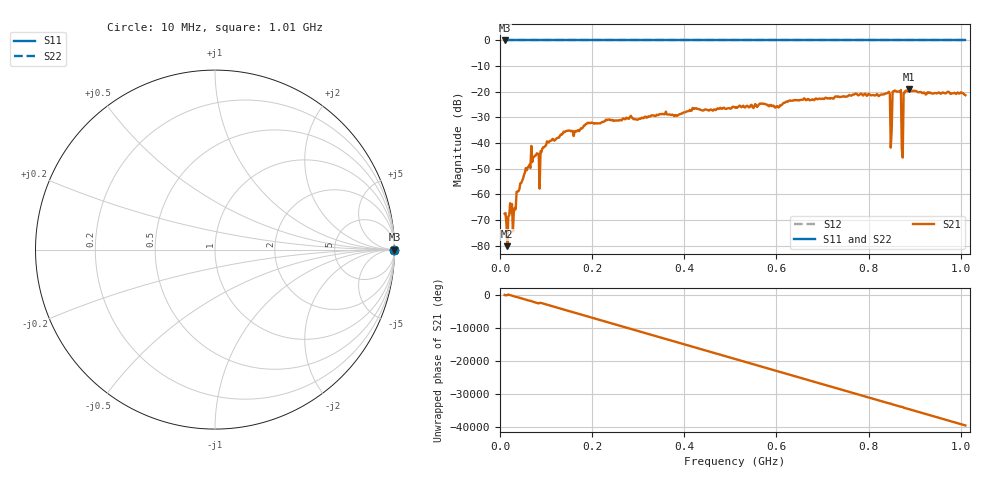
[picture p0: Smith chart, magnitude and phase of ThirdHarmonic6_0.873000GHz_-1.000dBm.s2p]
! 8/16/2025 4:48:41 AM
! C:\ANRITSUVNA\TEMP\TEMP.S2P
! CHANNEL.1
! TR.MEASUREMENT
! RAW.DATA
! RF.CORRECTION.OFF
! AVERAGING.OFF
! IF.BANDWIDTH: 5KHZ
! SWEEPTYPE:  FREQ.SWEEP(Linear)
! Reference Plane Port Info
! PORT:  PORT1  PORT2
! DISTANCE:  0  m  0  m
! TIME:  0  s  0  s
! PHASE.OFFSET:  0  deg.  0  deg.
! LOSS:  0  dB  0  dB
! REF.LOSS:  0  dB  0  dB
! REF.FREQ:  0  Hz  0  Hz
! Power Info
! POWER:  -20  dBm  -20  dBm
! EFF.POWER:  -20  dBm  -20  dBm
! SOURCE.ATTEN:  0  dB  0  dB
! TEST.ATTEN:  0  dB  0  dB
# GHZ S RI R 50.0
! FREQ.GHZ  S11RE  S11IM  S21RE  S21IM  S12RE  S12IM  S22RE  S22IM
!; PortSelection: Port_12
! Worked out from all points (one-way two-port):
!   501 points, 10 MHz to 1.01 GHz, reference 50 ohm
!   highest |S21| = -19.04 dB at 888 MHz (marker M1); lowest = -80.1 dB at 16 MHz (marker M2)
!   lowest |S11| = 0.0 dB at 10 MHz (marker M3)
!   |S11| at or under -10 dB: nowhere
!   |S22| runs from 0.0 to 0.0 dB; largest |S21 - S12| = 1.1
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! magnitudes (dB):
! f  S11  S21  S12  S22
! 10 MHz  0.0  -67.5  0.0  0.0
! 16 MHz  0.0  -80.1  0.0  0.0
! 22 MHz  0.0  -63.4  0.0  0.0
! 30 MHz  0.0  -66.9  0.0  0.0
! 40 MHz  0.0  -58.8  0.0  0.0
! 72 MHz  0.0  -45.6  0.0  0.0
! 82 MHz  0.0  -44.2  0.0  0.0
! 106 MHz  0.0  -39.7  0.0  0.0
! 178 MHz  0.0  -34.2  0.0  0.0
! 344 MHz  0.0  -29.0  0.0  0.0
! 510 MHz  0.0  -26.2  0.0  0.0
! 678 MHz  0.0  -22.9  0.0  0.0
! 840 MHz  0.0  -20.6  0.0  0.0
! 844 MHz  0.0  -20.0  0.0  0.0
! 852 MHz  0.0  -19.9  0.0  0.0
! 856 MHz  0.0  -19.5  0.0  0.0
! 866 MHz  0.0  -19.8  0.0  0.0
! 870 MHz  0.0  -19.3  0.0  0.0
! 876 MHz  0.0  -20.3  0.0  0.0
! 880 MHz  0.0  -19.6  0.0  0.0
! 888 MHz  0.0  -19.0  0.0  0.0
! 1.01 GHz  0.0  -21.3  0.0  0.0
